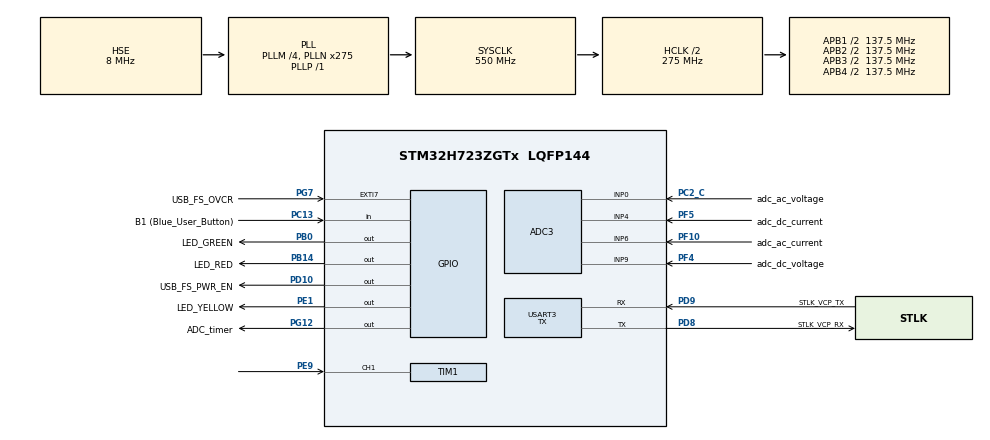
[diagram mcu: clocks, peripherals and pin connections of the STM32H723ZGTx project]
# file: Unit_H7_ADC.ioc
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ADC3.Channel-1\#ChannelRegularConversion=ADC_CHANNEL_0
ADC3.Channel-2\#ChannelRegularConversion=ADC_CHANNEL_6
ADC3.ClockPrescaler=ADC_CLOCK_ASYNC_DIV1
ADC3.ContinuousConvMode=ENABLE
ADC3.ConversionDataManagement=ADC_CONVERSIONDATA_DR
ADC3.DMAContinuousRequests=DISABLE
ADC3.EOCSelection=ADC_EOC_SEQ_CONV
ADC3.ExternalTrigConv=ADC_SOFTWARE_START
ADC3.NbrOfConversion=2
ADC3.NbrOfConversionFlag=1
ADC3.OffsetNumber-1\#ChannelRegularConversion=ADC_OFFSET_NONE
ADC3.OffsetNumber-2\#ChannelRegularConversion=ADC_OFFSET_NONE
ADC3.OffsetSaturation-1\#ChannelRegularConversion=DISABLE
ADC3.OffsetSaturation-2\#ChannelRegularConversion=DISABLE
ADC3.OffsetSign-1\#ChannelRegularConversion=ADC3_OFFSET_SIGN_NEGATIVE
ADC3.OffsetSign-2\#ChannelRegularConversion=ADC3_OFFSET_SIGN_NEGATIVE
ADC3.OffsetSignedSaturation-1\#ChannelRegularConversion=DISABLE
ADC3.OffsetSignedSaturation-2\#ChannelRegularConversion=DISABLE
ADC3.Overrun=ADC_OVR_DATA_PRESERVED
ADC3.Rank-1\#ChannelRegularConversion=1
ADC3.Rank-2\#ChannelRegularConversion=2
ADC3.SamplingTime-1\#ChannelRegularConversion=ADC3_SAMPLETIME_2CYCLES_5
ADC3.SamplingTime-2\#ChannelRegularConversion=ADC3_SAMPLETIME_2CYCLES_5
CORTEX_M7.CPU_DCache=Enabled
CORTEX_M7.CPU_ICache=Enabled
Dma.ADC3.1.Direction=DMA_PERIPH_TO_MEMORY
Dma.ADC3.1.EventEnable=DISABLE
Dma.ADC3.1.FIFOMode=DMA_FIFOMODE_DISABLE
Dma.ADC3.1.Instance=DMA1_Stream0
Dma.ADC3.1.MemDataAlignment=DMA_MDATAALIGN_WORD
Dma.ADC3.1.MemInc=DMA_MINC_ENABLE
Dma.ADC3.1.Mode=DMA_NORMAL
Dma.ADC3.1.PeriphDataAlignment=DMA_PDATAALIGN_WORD
Dma.ADC3.1.PeriphInc=DMA_PINC_DISABLE
Dma.ADC3.1.Polarity=HAL_DMAMUX_REQ_GEN_RISING
Dma.ADC3.1.Priority=DMA_PRIORITY_LOW
Dma.ADC3.1.RequestNumber=1
Dma.ADC3.1.SignalID=NONE
Dma.ADC3.1.SyncEnable=DISABLE
Dma.ADC3.1.SyncPolarity=HAL_DMAMUX_SYNC_NO_EVENT
Dma.ADC3.1.SyncRequestNumber=1
Dma.ADC3.1.SyncSignalID=NONE
Dma.Request0=USART3_TX
Dma.Request1=ADC3
Dma.USART3_TX.0.Direction=DMA_MEMORY_TO_PERIPH
Dma.USART3_TX.0.EventEnable=DISABLE
Dma.USART3_TX.0.FIFOMode=DMA_FIFOMODE_DISABLE
Dma.USART3_TX.0.Instance=DMA1_Stream1
Dma.USART3_TX.0.MemDataAlignment=DMA_MDATAALIGN_BYTE
Dma.USART3_TX.0.MemInc=DMA_MINC_ENABLE
Dma.USART3_TX.0.Mode=DMA_NORMAL
Dma.USART3_TX.0.PeriphDataAlignment=DMA_PDATAALIGN_BYTE
Dma.USART3_TX.0.PeriphInc=DMA_PINC_DISABLE
Dma.USART3_TX.0.Polarity=HAL_DMAMUX_REQ_GEN_RISING
Dma.USART3_TX.0.Priority=DMA_PRIORITY_LOW
Dma.USART3_TX.0.RequestNumber=1
Dma.USART3_TX.0.SignalID=NONE
Dma.USART3_TX.0.SyncEnable=DISABLE
Dma.USART3_TX.0.SyncPolarity=HAL_DMAMUX_SYNC_NO_EVENT
Dma.USART3_TX.0.SyncRequestNumber=1
Dma.USART3_TX.0.SyncSignalID=NONE
Mcu.Family=STM32H7
Mcu.Name=STM32H723ZGTx
Mcu.Package=LQFP144
NVIC.ADC3_IRQn=true\:0\:0\:false\:false\:true\:true\:true
NVIC.DMA1_Stream0_IRQn=true\:0\:0\:false\:false\:true\:false\:true
NVIC.DMA1_Stream1_IRQn=true\:0\:0\:false\:false\:true\:false\:true
NVIC.PriorityGroup=NVIC_PRIORITYGROUP_4
NVIC.TIM1_UP_IRQn=true\:0\:0\:false\:false\:true\:true\:true
NVIC.USART3_IRQn=true\:0\:0\:false\:false\:true\:true\:true
PA13(JTMS/SWDIO).GPIO_Label=SWDIO
PA13(JTMS/SWDIO).Mode=Trace_Asynchronous_SW
PA13(JTMS/SWDIO).Signal=DEBUG_JTMS-SWDIO
PA14(JTCK/SWCLK).GPIO_Label=SWCLK
PA14(JTCK/SWCLK).Mode=Trace_Asynchronous_SW
PA14(JTCK/SWCLK).Signal=DEBUG_JTCK-SWCLK
PB0.GPIO_Label=LED_GREEN
PB0.Signal=GPIO_Output
PB14.GPIO_Label=LED_RED
PB14.Signal=GPIO_Output
PB3(JTDO/TRACESWO).GPIO_Label=SWO
PB3(JTDO/TRACESWO).Mode=Trace_Asynchronous_SW
PB3(JTDO/TRACESWO).Signal=DEBUG_JTDO-SWO
PC13.GPIO_Label=B1 (Blue_User_Button)
PC13.Signal=GPIO_Input
PC14-OSC32_IN.Mode=LSE-External-Oscillator
PC14-OSC32_IN.Signal=RCC_OSC32_IN
PC15-OSC32_OUT.Mode=LSE-External-Oscillator
PC15-OSC32_OUT.Signal=RCC_OSC32_OUT
PC2_C.GPIO_Label=adc_ac_voltage
PC2_C.Mode=IN0-Single-Ended
PC2_C.Signal=ADC3_INP0
PD10.GPIO_Label=USB_FS_PWR_EN
PD10.Signal=GPIO_Output
PD8.GPIO_Label=STLK_VCP_RX
PD8.Mode=Asynchronous
PD8.Signal=USART3_TX
PD9.GPIO_Label=STLK_VCP_TX
PD9.Mode=Asynchronous
PD9.Signal=USART3_RX
PE1.GPIO_Label=LED_YELLOW
PE1.Signal=GPIO_Output
PE9.Signal=S_TIM1_CH1
PF10.GPIO_Label=adc_ac_current
PF10.Mode=IN6-Single-Ended
PF10.Signal=ADC3_INP6
PF4.GPIO_Label=adc_dc_voltage
PF4.Mode=IN9-Single-Ended
PF4.Signal=ADC3_INP9
PF5.GPIO_Label=adc_dc_current
PF5.Mode=IN4-Single-Ended
PF5.Signal=ADC3_INP4
PG12.GPIO_Label=ADC_timer
PG12.GPIO_Speed=GPIO_SPEED_FREQ_VERY_HIGH
PG12.Signal=GPIO_Output
PG7.GPIO_Label=USB_FS_OVCR
PG7.Signal=GPXTI7
PH0-OSC_IN.GPIO_Label=MCO
PH0-OSC_IN.Mode=HSE-External-Clock-Source
PH0-OSC_IN.Signal=RCC_OSC_IN
ProjectManager.HeapSize=0x200
ProjectManager.StackSize=0x400
ProjectManager.TargetToolchain=STM32CubeIDE
RCC.ADCFreq_Value=96000000
RCC.APB1Freq_Value=137500000
RCC.APB2Freq_Value=137500000
RCC.APB3Freq_Value=137500000
RCC.APB4Freq_Value=137500000
RCC.CortexFreq_Value=550000000
RCC.D1PPRE=RCC_APB3_DIV2
RCC.D2PPRE1=RCC_APB1_DIV2
RCC.D2PPRE2=RCC_APB2_DIV2
RCC.D3PPRE=RCC_APB4_DIV2
RCC.DIVM1=4
RCC.DIVM2=1
RCC.DIVN1=275
RCC.DIVN2=24
RCC.DIVP1=1
RCC.DIVQ1=4
RCC.HCLKFreq_Value=275000000
RCC.HPRE=RCC_HCLK_DIV2
RCC.HSE_VALUE=8000000
RCC.PLLFRACN=0
RCC.PLLSourceVirtual=RCC_PLLSOURCE_HSE
RCC.SYSCLKFreq_VALUE=550000000
RCC.SYSCLKSource=RCC_SYSCLKSOURCE_PLLCLK
RCC.USBCLockSelection=RCC_USBCLKSOURCE_HSI48
RCC.USBFreq_Value=48000000
SH.S_TIM1_CH1.0=TIM1_CH1,Input_Capture1_from_TI1
TIM1.Channel-Input_Capture1_from_TI1=TIM_CHANNEL_1
TIM1.Period=11000
USART3.Mode=MODE_TX
USART3.VirtualMode-Asynchronous=VM_ASYNC
VP_TIM1_VS_ClockSourceINT.Mode=Internal
board=NUCLEO-H723ZG

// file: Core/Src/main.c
/* USER CODE BEGIN Header */
/**
  ******************************************************************************
  * @file           : main.c
  * @brief          : Main program body
  ******************************************************************************
  * @attention
  *
  * <h2><center>&copy; Copyright (c) 2021 STMicroelectronics.
  * All rights reserved.</center></h2>
  *
  * This software component is licensed by ST under BSD 3-Clause license,
  * the "License"; You may not use this file except in compliance with the
  * License. You may obtain a copy of the License at:
  *                        opensource.org/licenses/BSD-3-Clause
  *
  ******************************************************************************
  */
/* USER CODE END Header */
#include "main.h"

/* USER CODE BEGIN Includes */
#include "stdlib.h"
#include "string.h"
#include "stdbool.h"
/* USER CODE END Includes */

/* USER CODE BEGIN PD */
#define ADC_LENGTH 2
#define AC_CURRENT 0
#define DC_CURRENT 1
#define DMA_BUFFER __attribute__((section(".dma_buffer")))
/* USER CODE END PD */

ADC_HandleTypeDef hadc3;
DMA_HandleTypeDef hdma_adc3;

TIM_HandleTypeDef htim1;

UART_HandleTypeDef huart3;
DMA_HandleTypeDef hdma_usart3_tx;

/* USER CODE BEGIN PV */
DMA_BUFFER uint32_t adc_memory[ADC_LENGTH] = {0};
uint8_t str[10]  = "help";
uint8_t end[ 2] = "\r\n";
uint8_t uart_flag = 0;
bool mut_conv = false;
/* USER CODE END PV */

void SystemClock_Config(void);
static void MX_GPIO_Init(void);
static void MX_USART3_UART_Init(void);
static void MX_DMA_Init(void);
static void MX_TIM1_Init(void);
static void MX_ADC3_Init(void);

/* USER CODE BEGIN 0 */
void HAL_TIM_PeriodElapsedCallback(TIM_HandleTypeDef *htim)
{
	/* DEBUG */
	HAL_GPIO_WritePin(ADC_timer_GPIO_Port, ADC_timer_Pin, GPIO_PIN_SET);

	/* Start ADC conversion */
	HAL_ADC_Start_DMA(&hadc3, adc_memory, ADC_LENGTH);

	/* Code voor sensor hier */
	if(mut_conv)
	{
		if(uart_flag == 0)
		{
			HAL_UART_Transmit_IT(&huart3, str, strlen((char *)str));
			uart_flag = 1;
		}
		if(uart_flag == 2)
		{
			HAL_UART_Transmit_IT(&huart3, end, strlen((char *)end));
			uart_flag = 3;
		}
	}
		HAL_GPIO_WritePin(ADC_timer_GPIO_Port, ADC_timer_Pin, GPIO_PIN_RESET);
}

void HAL_UART_TxCpltCallback(UART_HandleTypeDef *huart)
{
	if(uart_flag == 1)
	{
		uart_flag = 2;
	}
	if(uart_flag == 3)
	{
		uart_flag = 0;
	}
}
void HAL_ADC_ConvCpltCallback(ADC_HandleTypeDef *hadc)
{
	adc_memory[AC_CURRENT] = adc_memory[AC_CURRENT] * 100;

	itoa(adc_memory[AC_CURRENT], (char *)str, 10);

	//shift numbers for decimal point
	uint16_t i = strlen((char *)str);
	memcpy(&str[i-1], &str[i-2], 2);
	str[i-2] = '.';
}
/* USER CODE END 0 */

int main(void)
{

  /* Enable I-Cache---------------------------------------------------------*/
  SCB_EnableICache();

  /* Enable D-Cache---------------------------------------------------------*/
  SCB_EnableDCache();

  /* MCU Configuration--------------------------------------------------------*/

  /* Reset of all peripherals, Initializes the Flash interface and the Systick. */
  HAL_Init();

  /* Configure the system clock */
  SystemClock_Config();

  /* USER CODE BEGIN SysInit */
  /* disable D-cache, causes problems with DMA */
  //SCB_DisableDCache();
  /* USER CODE END SysInit */

  /* Initialize all configured peripherals */
  MX_GPIO_Init();
  MX_USART3_UART_Init();
  MX_DMA_Init();
  MX_TIM1_Init();
  MX_ADC3_Init();
  /* USER CODE BEGIN 2 */
  HAL_TIM_Base_Start_IT(&htim1);
  /* USER CODE END 2 */

  /* Infinite loop */
  while (1)
  {

  }
}

void SystemClock_Config(void)
{
  RCC_OscInitTypeDef RCC_OscInitStruct = {0};
  RCC_ClkInitTypeDef RCC_ClkInitStruct = {0};

  /** Supply configuration update enable
  */
  HAL_PWREx_ConfigSupply(PWR_LDO_SUPPLY);
  /** Configure the main internal regulator output voltage
  */
  __HAL_PWR_VOLTAGESCALING_CONFIG(PWR_REGULATOR_VOLTAGE_SCALE0);

  while(!__HAL_PWR_GET_FLAG(PWR_FLAG_VOSRDY)) {}
  /** Macro to configure the PLL clock source
  */
  __HAL_RCC_PLL_PLLSOURCE_CONFIG(RCC_PLLSOURCE_HSE);
  /** Initializes the RCC Oscillators according to the specified parameters
  * in the RCC_OscInitTypeDef structure.
  */
  RCC_OscInitStruct.OscillatorType = RCC_OSCILLATORTYPE_HSE;
  RCC_OscInitStruct.HSEState = RCC_HSE_BYPASS;
  RCC_OscInitStruct.PLL.PLLState = RCC_PLL_ON;
  RCC_OscInitStruct.PLL.PLLSource = RCC_PLLSOURCE_HSE;
  RCC_OscInitStruct.PLL.PLLM = 4;
  RCC_OscInitStruct.PLL.PLLN = 275;
  RCC_OscInitStruct.PLL.PLLP = 1;
  RCC_OscInitStruct.PLL.PLLQ = 4;
  RCC_OscInitStruct.PLL.PLLR = 2;
  RCC_OscInitStruct.PLL.PLLRGE = RCC_PLL1VCIRANGE_1;
  RCC_OscInitStruct.PLL.PLLVCOSEL = RCC_PLL1VCOWIDE;
  RCC_OscInitStruct.PLL.PLLFRACN = 0;
  if (HAL_RCC_OscConfig(&RCC_OscInitStruct) != HAL_OK)
  {
    Error_Handler();
  }
  /** Initializes the CPU, AHB and APB buses clocks
  */
  RCC_ClkInitStruct.ClockType = RCC_CLOCKTYPE_HCLK|RCC_CLOCKTYPE_SYSCLK
                              |RCC_CLOCKTYPE_PCLK1|RCC_CLOCKTYPE_PCLK2
                              |RCC_CLOCKTYPE_D3PCLK1|RCC_CLOCKTYPE_D1PCLK1;
  RCC_ClkInitStruct.SYSCLKSource = RCC_SYSCLKSOURCE_PLLCLK;
  RCC_ClkInitStruct.SYSCLKDivider = RCC_SYSCLK_DIV1;
  RCC_ClkInitStruct.AHBCLKDivider = RCC_HCLK_DIV2;
  RCC_ClkInitStruct.APB3CLKDivider = RCC_APB3_DIV2;
  RCC_ClkInitStruct.APB1CLKDivider = RCC_APB1_DIV2;
  RCC_ClkInitStruct.APB2CLKDivider = RCC_APB2_DIV2;
  RCC_ClkInitStruct.APB4CLKDivider = RCC_APB4_DIV2;

  if (HAL_RCC_ClockConfig(&RCC_ClkInitStruct, FLASH_LATENCY_3) != HAL_OK)
  {
    Error_Handler();
  }
}

static void MX_ADC3_Init(void)
{

  ADC_ChannelConfTypeDef sConfig = {0};

  /** Common config
  */
  hadc3.Instance = ADC3;
  hadc3.Init.ClockPrescaler = ADC_CLOCK_ASYNC_DIV1;
  hadc3.Init.Resolution = ADC_RESOLUTION_12B;
  hadc3.Init.DataAlign = ADC3_DATAALIGN_RIGHT;
  hadc3.Init.ScanConvMode = ADC_SCAN_ENABLE;
  hadc3.Init.EOCSelection = ADC_EOC_SEQ_CONV;
  hadc3.Init.LowPowerAutoWait = DISABLE;
  hadc3.Init.ContinuousConvMode = ENABLE;
  hadc3.Init.NbrOfConversion = 2;
  hadc3.Init.DiscontinuousConvMode = DISABLE;
  hadc3.Init.ExternalTrigConv = ADC_SOFTWARE_START;
  hadc3.Init.ExternalTrigConvEdge = ADC_EXTERNALTRIGCONVEDGE_NONE;
  hadc3.Init.DMAContinuousRequests = DISABLE;
  hadc3.Init.SamplingMode = ADC_SAMPLING_MODE_NORMAL;
  hadc3.Init.ConversionDataManagement = ADC_CONVERSIONDATA_DR;
  hadc3.Init.Overrun = ADC_OVR_DATA_PRESERVED;
  hadc3.Init.LeftBitShift = ADC_LEFTBITSHIFT_NONE;
  hadc3.Init.OversamplingMode = DISABLE;
  if (HAL_ADC_Init(&hadc3) != HAL_OK)
  {
    Error_Handler();
  }
  /** Configure Regular Channel
  */
  sConfig.Channel = ADC_CHANNEL_0;
  sConfig.Rank = ADC_REGULAR_RANK_1;
  sConfig.SamplingTime = ADC3_SAMPLETIME_2CYCLES_5;
  sConfig.SingleDiff = ADC_SINGLE_ENDED;
  sConfig.OffsetNumber = ADC_OFFSET_NONE;
  sConfig.Offset = 0;
  sConfig.OffsetSignedSaturation = DISABLE;
  sConfig.OffsetSign = ADC3_OFFSET_SIGN_NEGATIVE;
  sConfig.OffsetSaturation = DISABLE;
  if (HAL_ADC_ConfigChannel(&hadc3, &sConfig) != HAL_OK)
  {
    Error_Handler();
  }
  /** Configure Regular Channel
  */
  sConfig.Channel = ADC_CHANNEL_6;
  sConfig.Rank = ADC_REGULAR_RANK_2;
  if (HAL_ADC_ConfigChannel(&hadc3, &sConfig) != HAL_OK)
  {
    Error_Handler();
  }

}

static void MX_TIM1_Init(void)
{

  TIM_ClockConfigTypeDef sClockSourceConfig = {0};
  TIM_MasterConfigTypeDef sMasterConfig = {0};
  TIM_IC_InitTypeDef sConfigIC = {0};

  htim1.Instance = TIM1;
  htim1.Init.Prescaler = 0;
  htim1.Init.CounterMode = TIM_COUNTERMODE_UP;
  htim1.Init.Period = 11000;
  htim1.Init.ClockDivision = TIM_CLOCKDIVISION_DIV1;
  htim1.Init.RepetitionCounter = 0;
  htim1.Init.AutoReloadPreload = TIM_AUTORELOAD_PRELOAD_DISABLE;
  if (HAL_TIM_Base_Init(&htim1) != HAL_OK)
  {
    Error_Handler();
  }
  sClockSourceConfig.ClockSource = TIM_CLOCKSOURCE_INTERNAL;
  if (HAL_TIM_ConfigClockSource(&htim1, &sClockSourceConfig) != HAL_OK)
  {
    Error_Handler();
  }
  if (HAL_TIM_IC_Init(&htim1) != HAL_OK)
  {
    Error_Handler();
  }
  sMasterConfig.MasterOutputTrigger = TIM_TRGO_RESET;
  sMasterConfig.MasterOutputTrigger2 = TIM_TRGO2_RESET;
  sMasterConfig.MasterSlaveMode = TIM_MASTERSLAVEMODE_DISABLE;
  if (HAL_TIMEx_MasterConfigSynchronization(&htim1, &sMasterConfig) != HAL_OK)
  {
    Error_Handler();
  }
  sConfigIC.ICPolarity = TIM_INPUTCHANNELPOLARITY_RISING;
  sConfigIC.ICSelection = TIM_ICSELECTION_DIRECTTI;
  sConfigIC.ICPrescaler = TIM_ICPSC_DIV1;
  sConfigIC.ICFilter = 0;
  if (HAL_TIM_IC_ConfigChannel(&htim1, &sConfigIC, TIM_CHANNEL_1) != HAL_OK)
  {
    Error_Handler();
  }

}

static void MX_USART3_UART_Init(void)
{

  huart3.Instance = USART3;
  huart3.Init.BaudRate = 115200;
  huart3.Init.WordLength = UART_WORDLENGTH_8B;
  huart3.Init.StopBits = UART_STOPBITS_1;
  huart3.Init.Parity = UART_PARITY_NONE;
  huart3.Init.Mode = UART_MODE_TX;
  huart3.Init.HwFlowCtl = UART_HWCONTROL_NONE;
  huart3.Init.OverSampling = UART_OVERSAMPLING_16;
  huart3.Init.OneBitSampling = UART_ONE_BIT_SAMPLE_DISABLE;
  huart3.Init.ClockPrescaler = UART_PRESCALER_DIV1;
  huart3.AdvancedInit.AdvFeatureInit = UART_ADVFEATURE_NO_INIT;
  if (HAL_UART_Init(&huart3) != HAL_OK)
  {
    Error_Handler();
  }
  if (HAL_UARTEx_SetTxFifoThreshold(&huart3, UART_TXFIFO_THRESHOLD_1_8) != HAL_OK)
  {
    Error_Handler();
  }
  if (HAL_UARTEx_SetRxFifoThreshold(&huart3, UART_RXFIFO_THRESHOLD_1_8) != HAL_OK)
  {
    Error_Handler();
  }
  if (HAL_UARTEx_DisableFifoMode(&huart3) != HAL_OK)
  {
    Error_Handler();
  }

}

static void MX_DMA_Init(void)
{

  /* DMA controller clock enable */
  __HAL_RCC_DMA1_CLK_ENABLE();

  /* DMA interrupt init */
  /* DMA1_Stream0_IRQn interrupt configuration */
  HAL_NVIC_SetPriority(DMA1_Stream0_IRQn, 0, 0);
  HAL_NVIC_EnableIRQ(DMA1_Stream0_IRQn);
  /* DMA1_Stream1_IRQn interrupt configuration */
  HAL_NVIC_SetPriority(DMA1_Stream1_IRQn, 0, 0);
  HAL_NVIC_EnableIRQ(DMA1_Stream1_IRQn);

}

static void MX_GPIO_Init(void)
{
  GPIO_InitTypeDef GPIO_InitStruct = {0};

  /* GPIO Ports Clock Enable */
  __HAL_RCC_GPIOC_CLK_ENABLE();
  __HAL_RCC_GPIOF_CLK_ENABLE();
  __HAL_RCC_GPIOH_CLK_ENABLE();
  __HAL_RCC_GPIOB_CLK_ENABLE();
  __HAL_RCC_GPIOE_CLK_ENABLE();
  __HAL_RCC_GPIOD_CLK_ENABLE();
  __HAL_RCC_GPIOG_CLK_ENABLE();
  __HAL_RCC_GPIOA_CLK_ENABLE();

  /*Configure GPIO pin Output Level */
  HAL_GPIO_WritePin(GPIOB, LED_GREEN_Pin|LED_RED_Pin, GPIO_PIN_RESET);

  /*Configure GPIO pin Output Level */
  HAL_GPIO_WritePin(USB_FS_PWR_EN_GPIO_Port, USB_FS_PWR_EN_Pin, GPIO_PIN_RESET);

  /*Configure GPIO pin Output Level */
  HAL_GPIO_WritePin(ADC_timer_GPIO_Port, ADC_timer_Pin, GPIO_PIN_RESET);

  /*Configure GPIO pin Output Level */
  HAL_GPIO_WritePin(LED_YELLOW_GPIO_Port, LED_YELLOW_Pin, GPIO_PIN_RESET);

  /*Configure GPIO pin : B1_Pin */
  GPIO_InitStruct.Pin = B1_Pin;
  GPIO_InitStruct.Mode = GPIO_MODE_INPUT;
  GPIO_InitStruct.Pull = GPIO_NOPULL;
  HAL_GPIO_Init(B1_GPIO_Port, &GPIO_InitStruct);

  /*Configure GPIO pins : LED_GREEN_Pin LED_RED_Pin */
  GPIO_InitStruct.Pin = LED_GREEN_Pin|LED_RED_Pin;
  GPIO_InitStruct.Mode = GPIO_MODE_OUTPUT_PP;
  GPIO_InitStruct.Pull = GPIO_NOPULL;
  GPIO_InitStruct.Speed = GPIO_SPEED_FREQ_LOW;
  HAL_GPIO_Init(GPIOB, &GPIO_InitStruct);

  /*Configure GPIO pin : USB_FS_PWR_EN_Pin */
  GPIO_InitStruct.Pin = USB_FS_PWR_EN_Pin;
  GPIO_InitStruct.Mode = GPIO_MODE_OUTPUT_PP;
  GPIO_InitStruct.Pull = GPIO_NOPULL;
  GPIO_InitStruct.Speed = GPIO_SPEED_FREQ_LOW;
  HAL_GPIO_Init(USB_FS_PWR_EN_GPIO_Port, &GPIO_InitStruct);

  /*Configure GPIO pin : USB_FS_OVCR_Pin */
  GPIO_InitStruct.Pin = USB_FS_OVCR_Pin;
  GPIO_InitStruct.Mode = GPIO_MODE_IT_RISING;
  GPIO_InitStruct.Pull = GPIO_NOPULL;
  HAL_GPIO_Init(USB_FS_OVCR_GPIO_Port, &GPIO_InitStruct);

  /*Configure GPIO pin : ADC_timer_Pin */
  GPIO_InitStruct.Pin = ADC_timer_Pin;
  GPIO_InitStruct.Mode = GPIO_MODE_OUTPUT_PP;
  GPIO_InitStruct.Pull = GPIO_NOPULL;
  GPIO_InitStruct.Speed = GPIO_SPEED_FREQ_VERY_HIGH;
  HAL_GPIO_Init(ADC_timer_GPIO_Port, &GPIO_InitStruct);

  /*Configure GPIO pin : LED_YELLOW_Pin */
  GPIO_InitStruct.Pin = LED_YELLOW_Pin;
  GPIO_InitStruct.Mode = GPIO_MODE_OUTPUT_PP;
  GPIO_InitStruct.Pull = GPIO_NOPULL;
  GPIO_InitStruct.Speed = GPIO_SPEED_FREQ_LOW;
  HAL_GPIO_Init(LED_YELLOW_GPIO_Port, &GPIO_InitStruct);

}

void Error_Handler(void)
{
  __disable_irq();
  while (1)
  {
  }
}

/************************ (C) COPYRIGHT STMicroelectronics *****END OF FILE****/
